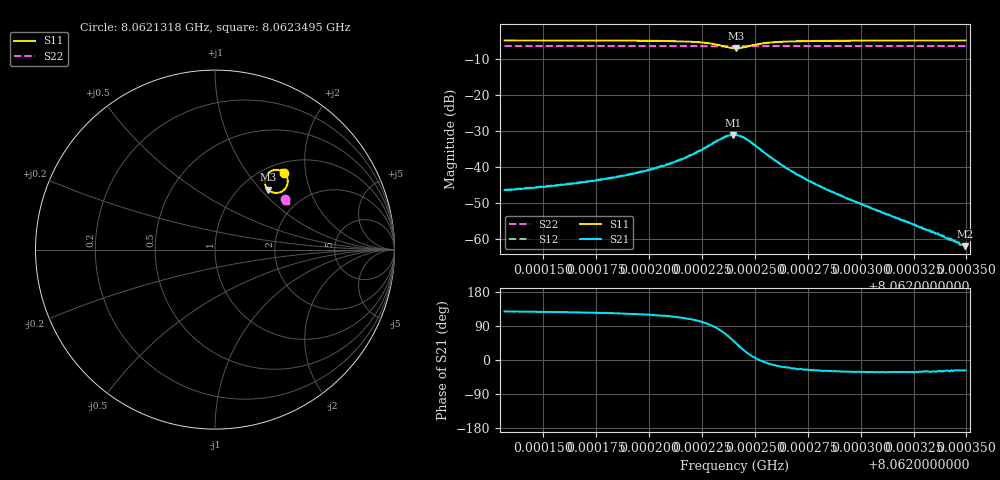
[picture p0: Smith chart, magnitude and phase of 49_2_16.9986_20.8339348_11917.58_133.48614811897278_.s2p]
#  HZ  S  RI  R  50.00
! Rohde & Schwarz Vector Network Analyzer
! Rohde-Schwarz,ZNB20-2Port,1311601062101988,3.16
! Created: UTC 3/20/2024, 10:54:13 PM
! freq[Hz]  re:S11  im:S11  re:S21  im:S21  re:S12  im:S12  re:S22  im:S22
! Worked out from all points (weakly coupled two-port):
!   401 points, 8.0621318 GHz to 8.0623495 GHz, reference 50 ohm
!   highest |S21| = -31.02 dB at 8.0622395 GHz (marker M1); lowest = -61.9 dB at 8.0623495 GHz (marker M2)
!   lowest |S11| = -7.0 dB at 8.0622412 GHz (marker M3), VSWR 2.61, Z = 66.1 + j55.1 ohm
!   |S11| at or under -10 dB: nowhere
!   |S22| runs from -6.4 to -6.3 dB; largest |S21 - S12| = 0.0022
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8.06213177e9  0.3869 0.4257  -0.00298 0.00379  -0.00275 0.00401  0.3899 0.283
8.06216823e9  0.3927 0.4186  -0.00358 0.00503  -0.00331 0.00529  0.3913 0.2809
8.06219109e9  0.3982 0.4097  -0.00421 0.00677  -0.00382 0.00712  0.392 0.2794
8.0622047e9  0.4022 0.3998  -0.00465 0.00895  -0.00414 0.00929  0.3927 0.2783
8.06221069e9  0.404 0.3927  -0.00476 0.0103  -0.00419 0.0108  0.3926 0.2778
8.06221776e9  0.4056 0.3802  -0.00454 0.0131  -0.00378 0.0133  0.3928 0.2768
8.0622281e9  0.3962 0.3469  -0.00149 0.0196  -0.000215 0.0202  0.3925 0.2752
8.06223518e9  0.3579 0.3179  0.00755 0.0246  0.0096 0.0243  0.3903 0.2741
8.06223953e9  0.3128 0.3224  0.0171 0.0223  0.0189 0.0211  0.3887 0.2749
8.06224062e9  0.302 0.329  0.0192 0.0203  0.021 0.019  0.3883 0.2753
8.06224117e9  0.297 0.3334  0.0203 0.0194  0.0217 0.0178  0.3883 0.2756
8.06224552e9  0.2771 0.3764  0.0232 0.00959  0.0238 0.00778  0.3883 0.2775
8.06225423e9  0.3024 0.4311  0.0162 -0.00151  0.0162 -0.00241  0.3904 0.2789
8.06226512e9  0.3342 0.4437  0.00917 -0.00315  0.00894 -0.00379  0.3922 0.2783
8.06227709e9  0.3519 0.4432  0.00549 -0.00275  0.00537 -0.00308  0.3934 0.2776
8.06229451e9  0.3643 0.4398  0.0031 -0.00185  0.00299 -0.00205  0.3944 0.2764
8.06231356e9  0.3718 0.4365  0.00183 -0.00113  0.00178 -0.00125  0.3953 0.2754
8.0623375e9  0.3772 0.4334  0.00102 -0.000562  0.000975 -0.000618  0.3961 0.2741
8.06234077e9  0.3779 0.433  0.000908 -0.000496  0.000906 -0.00058  0.3962 0.2738
8.06234349e9  0.3785 0.4326  0.000847 -0.000483  0.000831 -0.000502  0.3964 0.2735
8.06234785e9  0.379 0.4321  0.000755 -0.000383  0.000742 -0.000401  0.3966 0.2735
8.06234948e9  0.3793 0.432  0.000716 -0.000367  0.000708 -0.000391  0.3966 0.2735
